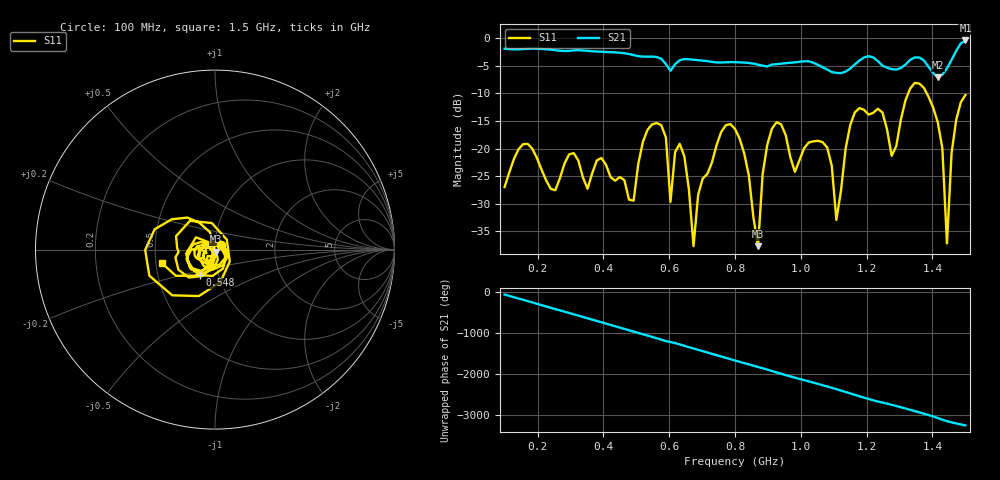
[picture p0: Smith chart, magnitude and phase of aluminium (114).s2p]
! NanoVNA-App
! Date: 2025-09-26 09:58:57
! Start: 100MHz Stop: 1,5GHz Points: 101
! S-Parameter data: F S11 S21 S12 S22
# Hz S RI R 50
!  Frequency  S11_Real  S11_Imag  S21_Real  S21_Imag  S12_Real  S12_Imag  S22_Real  S22_Imag
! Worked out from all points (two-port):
!   101 points, 100 MHz to 1.5 GHz, reference 50 ohm
!   highest |S21| = -0.40 dB at 1.5 GHz (marker M1); lowest = -7.1 dB at 1.416 GHz (marker M2)
!   |S21| within 3 dB of the highest: start of sweep to 561.7 MHz; 1.463 GHz to end of sweep (the widest 2 of 3)
!   lowest |S11| = -37.7 dB at 870 MHz (marker M3), VSWR 1.03, Z = 50.7 - j1.11 ohm
!   |S11| at or under -10 dB: start of sweep to 1.326 GHz; 1.383 GHz to end of sweep
!   S12 and S22 are empty: the file has one direction only
!   S11 on the Smith chart (normalised r, x): 100 MHz: 1.07, +0.06; 548 MHz: 0.81, -0.24; 1.5 GHz: 0.54, -0.09
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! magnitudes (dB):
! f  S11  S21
! 100 MHz  -27.0  -1.9
! 338 MHz  -25.2  -2.2
! 492 MHz  -29.4  -3.1
! 548 MHz  -15.6  -3.3
! 576 MHz  -15.8  -3.7
! 604 MHz  -29.7  -5.9
! 646 MHz  -21.4  -3.8
! 674 MHz  -37.7  -3.9
! 702 MHz  -25.4  -4.1
! 800 MHz  -16.4  -4.3
! 870 MHz  -37.7  -4.8
! 912 MHz  -16.4  -4.8
! 1.038 GHz  -18.7  -4.4
! 1.08 GHz  -19.8  -5.7
! 1.108 GHz  -32.9  -6.3
! 1.164 GHz  -13.4  -4.8
! 1.276 GHz  -21.3  -5.6
! 1.346 GHz  -8.1  -3.5
! 1.416 GHz  -15.2  -7.1
! 1.444 GHz  -37.2  -5.5
! 1.458 GHz  -20.8  -3.9
! 1.5 GHz  -10.3  -0.4
